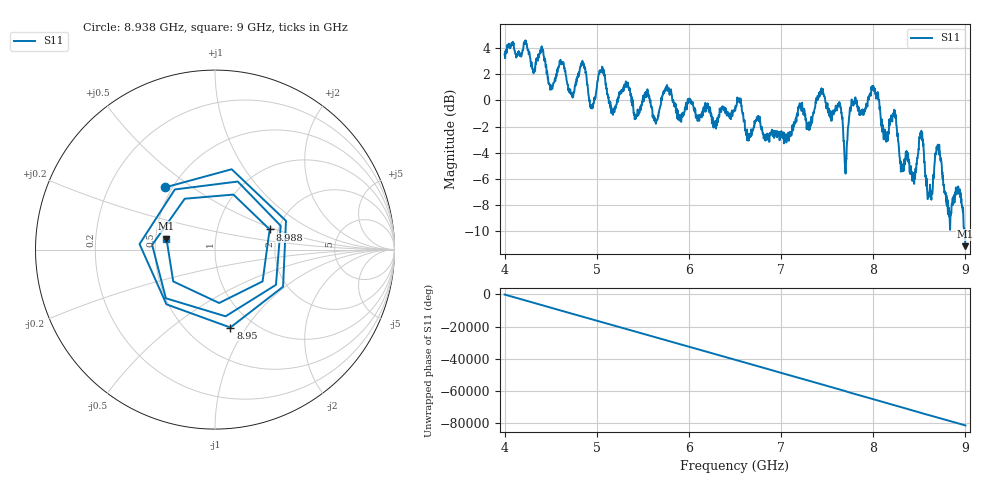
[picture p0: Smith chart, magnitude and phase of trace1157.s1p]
! Created with skrf 1.8.0 (http://scikit-rf.org).
# Hz S RI R 50.0
!freq ReS11 ImS11
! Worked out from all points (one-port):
!   1601 points, 4 GHz to 9 GHz, reference 50 ohm
!   lowest |S11| = -11.1 dB at 9 GHz (marker M1), VSWR 1.77, Z = 28.5 + j3.8 ohm
!   |S11| at or under -10 dB: 8.991369 GHz to end of sweep
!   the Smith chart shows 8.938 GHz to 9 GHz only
!   S11 on the Smith chart (normalised r, x): 8.938 GHz: 0.46, +0.40; 8.95 GHz: 0.78, -0.85; 8.988 GHz: 1.80, +0.45; 9 GHz: 0.57, +0.08
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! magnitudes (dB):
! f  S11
! 4 GHz  3.5
! 4.403 GHz  4.1
! 4.5 GHz  1.2
! 4.625 GHz  2.9
! 4.728 GHz  0.4
! 4.853 GHz  2.8
! 4.944 GHz  -0.5
! 5.05 GHz  2.2
! 5.166 GHz  -0.8
! 5.25 GHz  0.6
! 5.875 GHz  -1.4
! 6.5 GHz  -0.6
! 7.125 GHz  -2.3
! 7.45 GHz  0.6
! 7.641 GHz  -0.3
! 7.7 GHz  -5.6
! 7.75 GHz  -0.5
! 8.003 GHz  1.1
! 8.375 GHz  -4.6
! 8.441 GHz  -5.8
! 8.522 GHz  -2.3
! 8.609 GHz  -7.0
! 8.697 GHz  -3.5
! 8.822 GHz  -8.9
! 8.938 GHz  -7.1
! 8.95 GHz  -7.1
! 8.988 GHz  -9.8
! 9 GHz  -11.1
